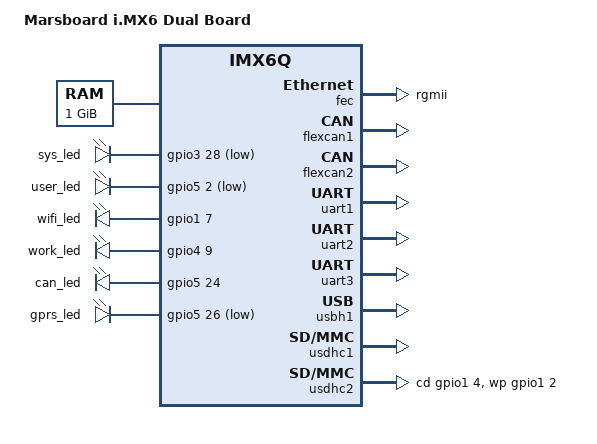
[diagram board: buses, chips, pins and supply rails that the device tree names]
/dts-v1/;

#include "imx6q-marsboard.dtsi"

/ {
  	model = "Marsboard i.MX6 Dual Board";
	compatible = "embest,imx6q-marsboard", "fsl,imx6q";
	//aliases {
	//	mxcfb0 = &mxcfb1;
	//	mxcfb1 = &mxcfb2;
	//	mxcfb2 = &mxcfb3;
	//	mxcfb3 = &mxcfb4;
	//};

	memory {
		reg = <0x10000000 0x40000000>;
	};

	leds { /* see iomuxc definition below */
		compatible = "gpio-leds";
		sys_led {
			gpios = <&gpio3 28 GPIO_ACTIVE_LOW>;
			linux,default-trigger = "heartbeat";
		};
		user_led {
			gpios = <&gpio5 2 GPIO_ACTIVE_LOW>;
		};
		wifi_led {
		      gpios = <&gpio1 7 GPIO_ACTIVE_HIGH>;
		};
		work_led {
		      gpios = <&gpio4 9 GPIO_ACTIVE_HIGH>;
		      output-low;
		      line-name = "Power/Work";
		};
		can_led {
		      gpios = <&gpio5 24 GPIO_ACTIVE_HIGH>,
		              <&gpio5 25 GPIO_ACTIVE_HIGH>;
		};
		gprs_led {
		      gpios = <&gpio5 26 GPIO_ACTIVE_LOW>;
		      input;
		      line-name = "GPS/GPRS";
		};
	};
	
	//mxcfb1: fb@0 {
	//	compatible = "fsl,mxc_sdc_fb";
	//	disp_dev = "hdmi";
	//	interface_pix_fmt = "RGB24";
	//	mode_str ="1280x720M@60";
	//	default_bpp = <32>;
	//	int_clk = <0>;
	//	late_init = <0>;
	//	status = "okay";
	//};

	//mxcfb2: fb@1 {
	//	compatible = "fsl,mxc_sdc_fb";
	//	disp_dev = "ldb";
	//	interface_pix_fmt = "RGB666";
	//	mode_str ="LDB-XGA";
	//	default_bpp = <16>;
	//	int_clk = <0>;
	//	late_init = <0>;
	//	status = "disabled";
	//};

	//mxcfb3: fb@2 {
	//	compatible = "fsl,mxc_sdc_fb";
	//	disp_dev = "lcd";
	//	interface_pix_fmt = "RGB565";
	//	mode_str ="CLAA-WVGA";
	//	default_bpp = <16>;
	//	int_clk = <0>;
	//	late_init = <0>;
	//	status = "disabled";
	//};

	//mxcfb4: fb@3 {
	//	compatible = "fsl,mxc_sdc_fb";
	//	disp_dev = "ldb";
	//	interface_pix_fmt = "RGB666";
	//	mode_str ="LDB-XGA";
	//	default_bpp = <16>;
	//	int_clk = <0>;
	//	late_init = <0>;
	//	status = "disabled";
	//};

	v4l2_cap_0 {
		compatible = "fsl,imx6q-v4l2-capture";
		ipu_id = <0>;
		csi_id = <0>;
		mclk_source = <0>;
		status = "disabled";
	}; 

	v4l2_cap_1 {
		compatible = "fsl,imx6q-v4l2-capture";
		ipu_id = <0>;
		csi_id = <1>;
		mclk_source = <0>;
		status = "disabled";
	};

	v4l2_out { // v4l2 output support: /dev/video16 + /dev/video17
		compatible = "fsl,mxc_v4l2_output";
		status = "okay";
	};

//	pwmleds {
//		compatible = "pwm-leds";
//		my_pwm {
//			pwms = <&pwm4 0 5000000>;
//			max-brightness = <255>;
//		};
//	};

};

&iomuxc {
	pinctrl-names = "default";
	pinctrl-0 = <&pinctrl_hog>;

	hog {
	    pinctrl_hog: hoggrp {
	    fsl,pins = < 
		  /* gpio-leds */
		  MX6QDL_PAD_EIM_D28__GPIO3_IO28      0x80000000
	        MX6QDL_PAD_EIM_A25__GPIO5_IO02      0x80000000
		
//	        MX6QDL_PAD_CSI0_DAT9__GPIO5_IO27    0x80000000  /* Comparator        | J11  36 | GPIO 155 */
              MX6QDL_PAD_CSI0_DAT9__GPIO5_IO27    0x80000000  /* PowGood           | J11  36 | GPIO 155 */
	    >;
	    };
      };	
		
	led {
          pinctrl_led: ledgrp {
          fsl,pins = <
//            MX6QDL_PAD_ENET_RXD1__GPIO1_IO26    0x80000000  /* LED_MarsStatus    | J11  15 | GPIO 26 */
//            MX6QDL_PAD_CSI0_DAT4__GPIO5_IO22    0x80000000  /* LED_CAN1          | J11  25 | GPIO 150 */
//            MX6QDL_PAD_CSI0_DAT5__GPIO5_IO23    0x80000000  /* LED_CAN2          | J11  27 | GPIO 151 */
              MX6QDL_PAD_CSI0_DAT6__GPIO5_IO24    0x80000000  /* LED_CAN1          | J11  29 | GPIO 152 */
              MX6QDL_PAD_CSI0_DAT7__GPIO5_IO25    0x80000000  /* LED_CAN2          | J11  31 | GPIO 153 */
              MX6QDL_PAD_CSI0_DAT8__GPIO5_IO26    0x80000000  /* LED_GPS/GPRS      | J11  38 | GPIO 154 */
              MX6QDL_PAD_KEY_ROW1__GPIO4_IO09     0x80000000  /* LED_Power/Work    | J11  32 | GPIO 105 */
              MX6QDL_PAD_KEY_COL1__GPIO4_IO08     0x80000000  /* LED_WiFi          | J11  34 | GPIO 104 */
          >;
          };
      };
      
      wifi {
          pinctrl_wifi: wifigrp {
          fsl,pins = <
              MX6QDL_PAD_GPIO_7__GPIO1_IO07       0x80000000  /* WiFi_Reset        | J10  29 | GPIO 7 */
          >;
          };
      };
      
//    gps {
//        pinctrl_gps: gpsgrp {
//        fsl,pins = <
//            MX6QDL_PAD_EIM_D20__GPIO3_IO20      0x80000000  /* GPS_Status        | J11  7  | GPIO 84 */
//            MX6QDL_PAD_EIM_D19__GPIO3_IO19      0x80000000  /* GPS_Netlight      | J11  9  | GPIO 83 */
//            MX6QDL_PAD_SD1_CMD__GPIO1_IO18      0x80000000  /* GPS_Reset         | J10  1  | GPIO 18 */
//            MX6QDL_PAD_EIM_EB3__GPIO2_IO31      0x80000000  /* GPS_WakeUp        | J10  35 | GPIO 63 */
//            MX6QDL_PAD_GPIO_1__GPIO1_IO01       0x80000000  /* GPS_StandBy       | J10  39 | GPIO 1 */
//        >;
//        };
//    };
      
      gprs {
          pinctrl_gprs: gprsgrp {
          fsl,pins = <
//            MX6QDL_PAD_CSI0_DAT8__GPIO5_IO26    0x80000000  /* GPRS_Status       | J11  38 | GPIO 154 */
//            MX6QDL_PAD_CSI0_MCLK__GPIO5_IO19    0x80000000  /* GPRS_Netlight     | J11  15 | GPIO 147 */
//            MX6QDL_PAD_SD4_DAT3__GPIO2_IO11     0x80000000  /* GPRS_Power        | J11  1  | GPIO 43 */
//            MX6QDL_PAD_CSI0_DAT18__GPIO6_IO04   0x80000000  /* GPRS_WakeUp       | J11  16 | GPIO 164 */
//            MX6QDL_PAD_CSI0_DAT19__GPIO6_IO05   0x80000000  /* GPRS_Input        | J11  18 | GPIO 165 */
              MX6QDL_PAD_GPIO_0__GPIO1_IO00       0x80000000  /* GPRS_Power        | J10  37 | GPIO 0 */
              MX6QDL_PAD_GPIO_1__GPIO1_IO01       0x80000000  /* GPRS_Reset        | J10  39 | GPIO 1 */
              MX6QDL_PAD_GPIO_8__GPIO1_IO08       0x80000000  /* GPRS_FlightMode   | J10  31 | GPIO 8 */
              MX6QDL_PAD_KEY_COL0__GPIO4_IO06     0x80000000  /* GPRS_Status       | J11  30 | GPIO 102 */
          >;
          };
      };
	
// shared on LCD port (J12), extension header (J11), and LVDS display (J3), on-board pull-ups
// 
//    i2c3 {		/* for LVDS display */
//        pinctrl_i2c3_5: i2c3grp-5 {
//        fsl,pins = <
//            MX6QDL_PAD_GPIO_5__I2C3_SCL 0x4001b8b1
//            MX6QDL_PAD_GPIO_6__I2C3_SDA 0x4001b8b1
//        >;
//        };
//    };

// shared on J10 and LVDS display (J3)
//	pwm4 {
//        pinctrl_pwm4_2: pwm4grp-2 {
//        fsl,pins = <
//            MX6QDL_PAD_SD1_CMD__PWM4_OUT 0x1b0b1
//        >;
//        };
//    };

};

// part of HDMI (J1)
//&i2c2 {
//	clock-frequency = <100000>;
//	pinctrl-names = "default";
//	pinctrl-0 = <&pinctrl_i2c2_2>;
//	status = "okay";
//
//	hdmi: edid@50 {
//		compatible = "fsl,imx6-hdmi-i2c";
//		reg = <0x50>;
//	};
//};

&cpu0 {
	arm-supply = <&reg_arm>;
	soc-supply = <&reg_soc>;
	pu-supply = <&reg_pu>; /* use pu_dummy if VDDSOC share with VDDPU */
};

&gpc {
	fsl,ldo-bypass = <0>; /* use ldo-bypass, u-boot will check it and configure */
	fsl,wdog-reset = <1>; /* watchdog select of reset source */
	pu-supply = <&reg_pu>; /* ldo-bypass:use pu_dummy if VDDSOC share with VDDPU */
};

//&gpu {
//	pu-supply = <&reg_pu>; /* ldo-bypass:use pu_dummy if VDDSOC share with VDDPU */
//};

&vpu {
	pu-supply = <&reg_pu>; /* ldo-bypass:use pu_dummy if VDDSOC share with VDDPU */
};

&fec {
	pinctrl-names = "default";
	pinctrl-0 = <&pinctrl_enet_1>;
	phy-mode = "rgmii";
	status = "okay";
};

//&hdmi_core {
//	ipu_id = <1>;
//	disp_id = <0>;
//	status = "okay";
//};

//&hdmi_video {
//	fsl,phy_reg_vlev = <0x0294>;
//	fsl,phy_reg_cksymtx = <0x800d>;
//	status = "okay";
//};

//&mxcfb1 {
//	status = "okay";
//};

// example for display
//&ldb {
//	ipu_id = <1>;
//	disp_id = <1>;
//	ext_ref = <1>;
//	mode = "sep1";
//	sec_ipu_id = <1>;
//	sec_disp_id = <0>;
//};

&flexcan1 {
	pinctrl-names = "default";
	pinctrl-0 = <&pinctrl_flexcan1_1>;
	status = "okay";
};

&flexcan2 {
	pinctrl-names = "default";
	pinctrl-0 = <&pinctrl_flexcan2_1>;
	status = "okay";
};

// example for UART on J11
&uart1 {
	pinctrl-names = "default";
	pinctrl-0 = <&pinctrl_uart1_1>;
	status = "okay";
};

// this is debug com
&uart2 {
	pinctrl-names = "default";
	pinctrl-0 = <&pinctrl_uart2_1>;
	status = "okay";
};

// example for UART on J10
&uart3 {
	pinctrl-names = "default";
//	pinctrl-0 = <&pinctrl_uart3_2>;
      pinctrl-0 = <&pinctrl_uart3_3>;
	status = "okay";
};

//&uart4 {
//	pinctrl-names = "default";
//	pinctrl-0 = <&pinctrl_uart4_1>;
//	status = "okay";
//};

//&uart5 {
//	pinctrl-names = "default";
//	pinctrl-0 = <&pinctrl_uart5_1>;
//	status = "okay";
//};

&usbh1 {
	status = "okay";
};

&usdhc1 {
      pinctrl-names = "default";
      pinctrl-0 = <&pinctrl_usdhc1_1>;
      status = "okay";
};

// micro-SD card J13
&usdhc2 {
	pinctrl-names = "default";
	pinctrl-0 = <&pinctrl_usdhc2_2>;
	cd-gpios = <&gpio1 4 0>;
	wp-gpios = <&gpio1 2 0>;
	status = "okay";
};

// on-board eMMC
//&usdhc3 {
//	pinctrl-names = "default";
//	pinctrl-0 = <&pinctrl_usdhc3_1>;
//	non-removable;
//	status = "okay";
//};

// example for PWM
//&pwm4 {
//	pinctrl-names = "default";
//	pinctrl-0 = <&pinctrl_pwm4_2>;
//	status = "okay";
//};


